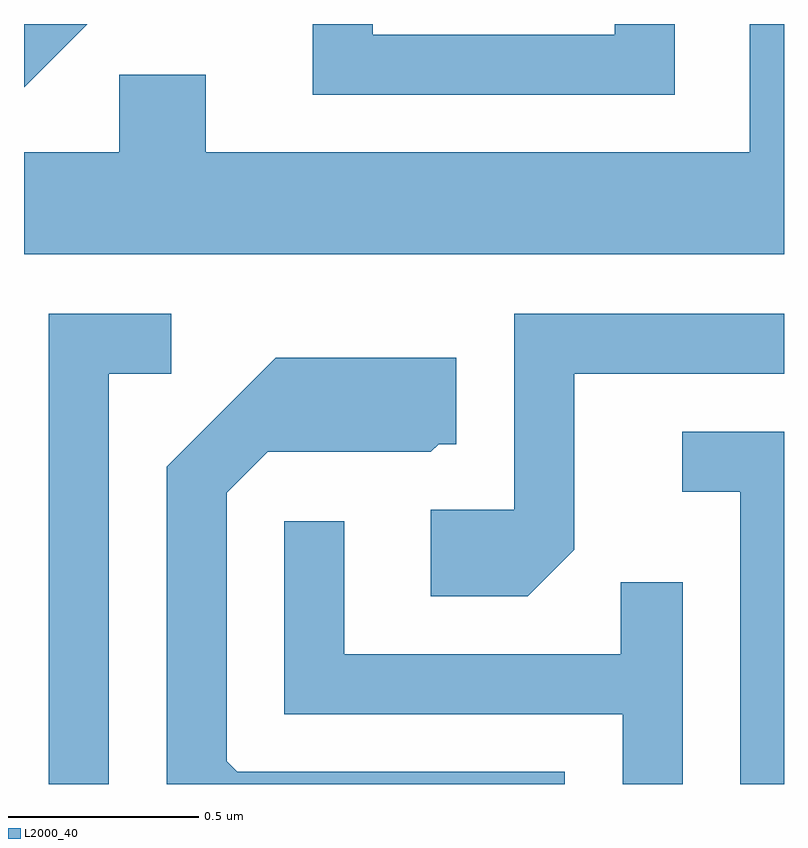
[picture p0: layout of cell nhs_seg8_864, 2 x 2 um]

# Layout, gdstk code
import gdstk
lib = gdstk.Library(unit=1e-6, precision=1e-09)
def P(c, l, *ps):  # polygons
    for p in ps: c.add(gdstk.Polygon(p, *l))
L2000_40 = (2000, 40)

nhs_seg8_864 = lib.new_cell('nhs_seg8_864')
P(nhs_seg8_864, L2000_40, [(193.611,1850.342),(193.521,1850.342),(193.521,1850.004),(192.089,1850.004),(192.089,1850.209),(191.861,1850.209),(191.861,1850.004),(191.611,1850.004),(191.611,1849.736),(193.611,1849.736)],
  [(191.778,1850.342),(191.611,1850.342),(191.611,1850.175)],
  [(193.324,1850.342),(193.166,1850.342),(193.166,1850.314),(192.529,1850.314),(192.529,1850.342),(192.371,1850.342),(192.371,1850.156),(193.324,1850.156)],
  [(191.834,1849.421),(191.998,1849.421),(191.998,1849.579),(191.676,1849.579),(191.676,1848.342),(191.834,1848.342)],
  [(193.059,1848.959),(193.059,1849.421),(193.611,1849.421),(193.611,1849.579),(192.901,1849.579),(192.901,1849.064),(192.681,1849.064),(192.681,1848.836),(192.937,1848.836)],
  [(193.034,1848.374),(192.172,1848.374),(192.144,1848.402),(192.144,1849.109),(192.252,1849.216),(192.682,1849.216),(192.702,1849.236),(192.749,1849.236),(192.749,1849.464),(192.274,1849.464),(191.986,1849.177),(191.986,1848.342),(193.034,1848.342)],
  [(193.611,1849.269),(193.343,1849.269),(193.343,1849.111),(193.496,1849.111),(193.496,1848.342),(193.611,1848.342)],
  [(193.344,1848.873),(193.181,1848.873),(193.181,1848.684),(192.454,1848.684),(192.454,1849.033),(192.296,1849.033),(192.296,1848.526),(193.186,1848.526),(193.186,1848.342),(193.344,1848.342)])

lib.write_gds('nhs_seg8_864.gds')
